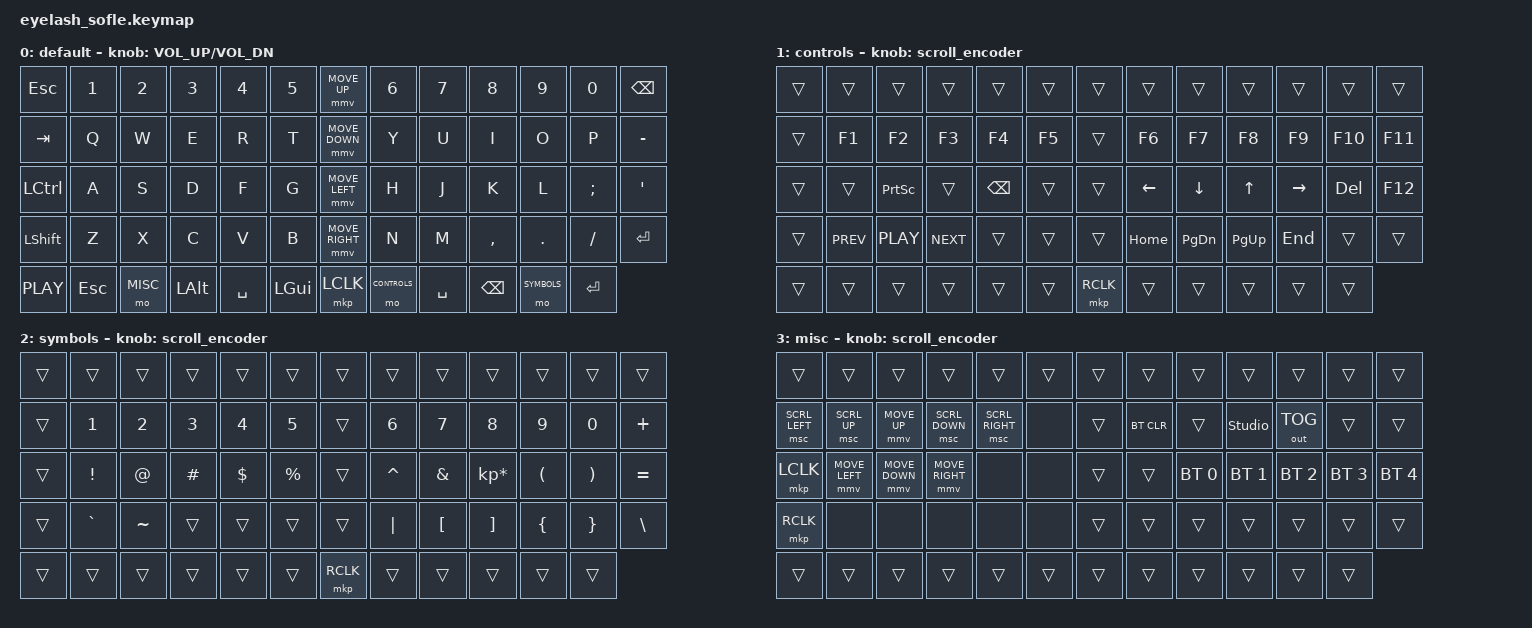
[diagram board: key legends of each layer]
#include <behaviors.dtsi>
#include <dt-bindings/zmk/bt.h>
#include <dt-bindings/zmk/keys.h>
#include <dt-bindings/zmk/outputs.h>
#include <dt-bindings/zmk/rgb.h>

#include <input/processors.dtsi>

#define CONTROLS 1
#define SYMBOLS 2
#define MISC 3

/*

   &mmv_input_listener {
       input-processors = <&zip_xy_scaler 2 1>;
   };

   &msc_input_listener {
       input-processors = <&zip_xy_scaler 2 1>;
   };

 */

#define ZMK_POINTING_DEFAULT_MOVE_VAL 2000 // 600
#define ZMK_POINTING_DEFAULT_SCRL_VAL 25  // 10
#include <dt-bindings/zmk/pointing.h>


/ {
    behaviors {
        mmv {
            acceleration-exponent = <1>;      // 1
            time-to-max-speed-ms = <900>;    // 40
            delay-ms = <0>;                   // 0
        };

        msc {
            acceleration-exponent = <1>;      // 0
            time-to-max-speed-ms = <400>;      // 500
            delay-ms = <0>;                   //   10
        };
    };

    scroll_encoder: scroll_encoder {
        compatible = "zmk,behavior-sensor-rotate";
        #sensor-binding-cells = <0>;
        bindings = <&msc SCRL_DOWN>, <&msc SCRL_UP>;

        tap-ms = <30>;
    };

    keymap {
        compatible = "zmk,keymap";

        default_layer {
            bindings = <
&kp ESC     &kp N1     &kp N2        &kp N3        &kp N4     &kp N5       &mmv MOVE_UP     &kp N6       &kp N7     &kp N8       &kp N9           &kp N0      &kp BACKSPACE
&kp TAB     &kp Q      &kp W         &kp E         &kp R      &kp T        &mmv MOVE_DOWN   &kp Y        &kp U      &kp I        &kp O            &kp P       &kp MINUS
&kp LCTRL   &kp A      &kp S         &kp D         &kp F      &kp G        &mmv MOVE_LEFT   &kp H        &kp J      &kp K        &kp L            &kp SEMI    &kp SQT
&kp LSHFT   &kp Z      &kp X         &kp C         &kp V      &kp B        &mmv MOVE_RIGHT  &kp N        &kp M      &kp COMMA    &kp DOT          &kp FSLH    &kp RET
&kp C_PLAY  &kp ESC    &mo MISC      &kp LALT      &kp SPACE  &kp LGUI     &mkp LCLK        &mo CONTROLS &kp SPACE  &kp BSPC     &mo SYMBOLS      &kp RET
            >;

            sensor-bindings = <&inc_dec_kp C_VOLUME_UP C_VOL_DN>;
            display-name = "default";
        };

        controls_layer {
            bindings = <
&trans      &trans           &trans          &trans           &trans           &trans             &trans           &trans           &trans           &trans      &trans     &trans   &trans
&trans      &kp F1           &kp F2          &kp F3           &kp F4           &kp F5             &trans           &kp F6           &kp F7           &kp F8      &kp F9     &kp F10  &kp F11
&trans      &trans           &kp PRINTSCREEN &trans           &kp BSPC         &trans             &trans           &kp LEFT         &kp DOWN         &kp UP      &kp RIGHT  &kp DEL  &kp F12
&trans      &kp C_PREV       &kp C_PLAY      &kp C_NEXT       &trans           &trans             &trans           &kp HOME         &kp PG_DN        &kp PG_UP   &kp END    &trans   &trans
&trans      &trans           &trans          &trans           &trans           &trans             &mkp RCLK        &trans           &trans           &trans      &trans     &trans
            >;

            display-name = "controls";
            sensor-bindings = <&scroll_encoder>;
        };

        symbols_layer {
            bindings = <
&trans     &trans        &trans          &trans        &trans        &trans          &trans           &trans     &trans    &trans           &trans     &trans       &trans
&trans     &kp N1        &kp N2          &kp N3        &kp N4        &kp N5          &trans           &kp N6     &kp N7    &kp N8           &kp N9     &kp N0       &kp PLUS
&trans     &kp EXCL      &kp AT          &kp HASH      &kp DLLR      &kp PRCNT       &trans           &kp CARET  &kp AMPS  &kp KP_ASTERISK  &kp LPAR   &kp RPAR     &kp EQUAL
&trans     &kp GRAVE     &kp TILDE       &trans        &trans        &trans          &trans           &kp PIPE   &kp LBKT  &kp RBKT         &kp LBRC   &kp RBRC     &kp BACKSLASH
&trans     &trans        &trans          &trans        &trans        &trans          &mkp RCLK        &trans     &trans    &trans           &trans     &trans
            >;

            display-name = "symbols";
            sensor-bindings = <&scroll_encoder>;
        };

        misc_layer {
            bindings = <
&trans            &trans          &trans          &trans           &trans             &trans       &trans          &trans           &trans         &trans         &trans        &trans         &trans
&msc SCRL_LEFT    &msc SCRL_UP    &mmv MOVE_UP    &msc SCRL_DOWN   &msc SCRL_RIGHT    &none        &trans          &bt BT_CLR       &trans         &studio_unlock &out OUT_TOG  &trans         &trans
&mkp LCLK         &mmv MOVE_LEFT  &mmv MOVE_DOWN  &mmv MOVE_RIGHT  &none              &none        &trans          &trans           &bt BT_SEL 0   &bt BT_SEL 1   &bt BT_SEL 2  &bt BT_SEL 3   &bt BT_SEL 4                           
&mkp RCLK         &none           &none           &none            &none              &none        &trans          &trans           &trans         &trans         &trans        &trans         &trans
&trans            &trans          &trans          &trans           &trans             &trans       &trans          &trans           &trans         &trans         &trans        &trans
            >;

            display-name = "misc";
            sensor-bindings = <&scroll_encoder>;
        };
    };
};
